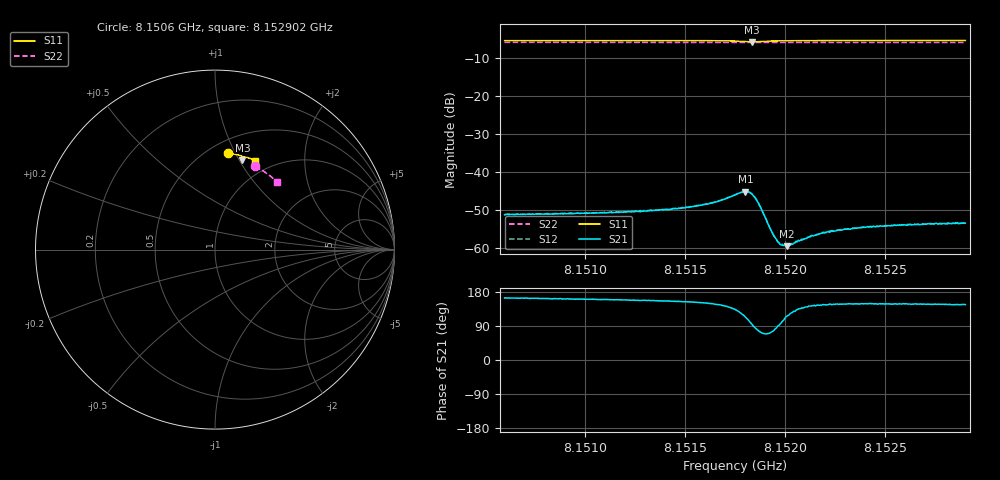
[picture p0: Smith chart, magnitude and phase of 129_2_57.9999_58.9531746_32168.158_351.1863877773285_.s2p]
#  HZ  S  RI  R  50.00
! Rohde & Schwarz Vector Network Analyzer
! Rohde-Schwarz,ZNB20-2Port,1311601062101988,3.16
! Created: UTC 3/21/2024, 12:56:02 AM
! freq[Hz]  re:S11  im:S11  re:S21  im:S21  re:S12  im:S12  re:S22  im:S22
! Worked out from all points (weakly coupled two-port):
!   401 points, 8.1506 GHz to 8.152902 GHz, reference 50 ohm
!   highest |S21| = -45.21 dB at 8.151803 GHz (marker M1); lowest = -59.6 dB at 8.15201 GHz (marker M2)
!   lowest |S11| = -5.6 dB at 8.151837 GHz (marker M3), VSWR 3.19, Z = 37.6 + j51.6 ohm
!   |S11| at or under -10 dB: nowhere
!   |S22| runs from -5.8 to -5.8 dB; largest |S21 - S12| = 0.00013
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8.1505997e9  0.0744 0.5367  -0.0026 0.000761  -0.00265 0.000813  0.2247 0.463
8.1509853e9  0.1017 0.5327  -0.00268 0.000933  -0.00266 0.00101  0.2466 0.4514
8.1512788e9  0.1225 0.5287  -0.00274 0.00116  -0.00283 0.00123  0.2627 0.4416
8.1513709e9  0.1291 0.527  -0.00286 0.00126  -0.00286 0.00131  0.2678 0.4384
8.151486e9  0.1379 0.5248  -0.003 0.00145  -0.00302 0.00152  0.2739 0.4344
8.1516126e9  0.1482 0.5209  -0.00325 0.00185  -0.00325 0.00197  0.281 0.4298
8.1516875e9  0.1547 0.5172  -0.00344 0.00252  -0.00346 0.00258  0.2847 0.4271
8.1517508e9  0.16 0.5108  -0.00342 0.00359  -0.00336 0.00369  0.288 0.4246
8.1518026e9  0.159 0.5019  -0.00219 0.00503  -0.00214 0.00512  0.2904 0.4224
8.1518198e9  0.1562 0.4997  -0.00128 0.00524  -0.00119 0.0053  0.2913 0.4215
8.1518371e9  0.1522 0.4995  -0.00026 0.00502  -0.000199 0.00509  0.2919 0.421
8.1518659e9  0.1477 0.5035  0.00083 0.00386  0.000924 0.00386  0.2933 0.4203
8.1519349e9  0.1519 0.5137  0.000432 0.00155  0.000434 0.00155  0.297 0.418
8.1519522e9  0.154 0.5147  0.000179 0.00133  0.000228 0.00134  0.2979 0.4173
8.1519695e9  0.1562 0.5153  -2.06e-05 0.00116  -1.73e-05 0.00117  0.2989 0.4169
8.151981e9  0.1574 0.5157  -0.000145 0.00107  -0.000141 0.00107  0.2995 0.4163
8.1520098e9  0.1605 0.516  -0.000448 0.000941  -0.000422 0.000978  0.301 0.4153
8.1521364e9  0.1721 0.5147  -0.00116 0.000859  -0.00114 0.000884  0.3075 0.4104
8.1522054e9  0.1777 0.5135  -0.0013 0.000898  -0.0013 0.000917  0.3112 0.4075
8.1522918e9  0.1841 0.5117  -0.00146 0.000922  -0.00144 0.000979  0.3153 0.4042
8.152522e9  0.2002 0.5063  -0.00164 0.00104  -0.00166 0.00106  0.3267 0.3946
8.1529019e9  0.2255 0.4964  -0.00175 0.00117  -0.00174 0.00117  0.3447 0.3783
